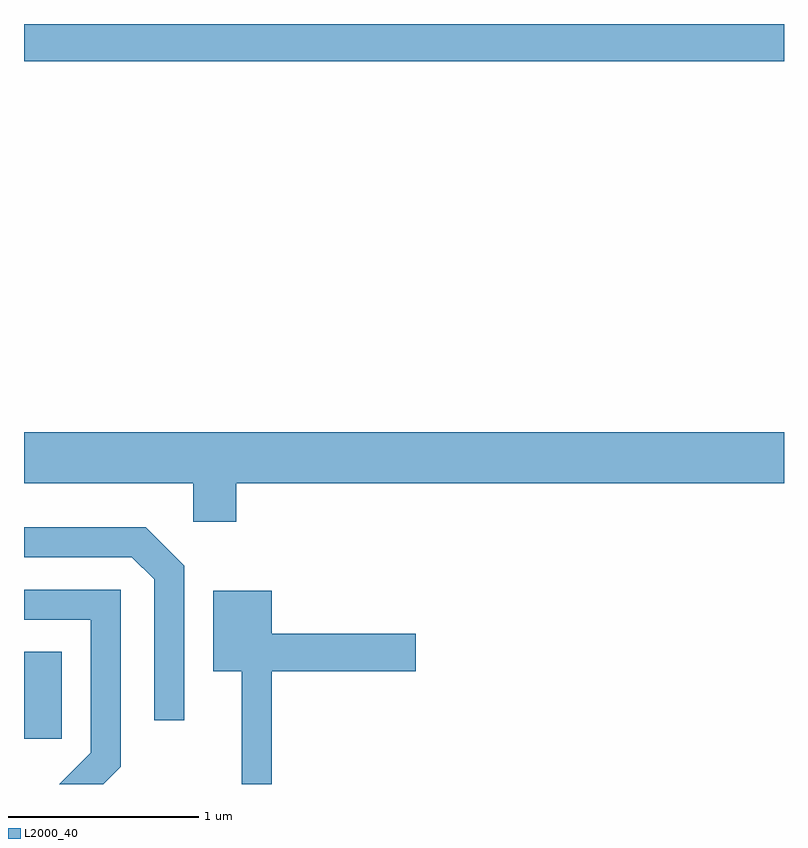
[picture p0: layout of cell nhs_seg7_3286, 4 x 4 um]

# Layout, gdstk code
import gdstk
lib = gdstk.Library(unit=1e-6, precision=1e-09)
def R(c, l, rs):  # rectangles x0, y0, x1, y1
    for r in rs: c.add(gdstk.rectangle(r[:2], r[2:], *l))
def P(c, l, *ps):  # polygons
    for p in ps: c.add(gdstk.Polygon(p, *l))
L2000_40 = (2000, 40)

nhs_seg7_3286 = lib.new_cell('nhs_seg7_3286')
R(nhs_seg7_3286, L2000_40, [(285.611,1748.491,285.809,1748.949), (285.611,1752.056,289.611,1752.252)])
P(nhs_seg7_3286, L2000_40, [(286.729,1749.836),(289.611,1749.836),(289.611,1750.104),(285.611,1750.104),(285.611,1749.836),(286.501,1749.836),(286.501,1749.631),(286.729,1749.631)],
  [(286.454,1749.402),(286.252,1749.604),(285.611,1749.604),(285.611,1749.446),(286.179,1749.446),(286.296,1749.329),(286.296,1748.588),(286.454,1748.588)],
  [(286.119,1748.344),(286.119,1749.274),(285.611,1749.274),(285.611,1749.116),(285.961,1749.116),(285.961,1748.417),(285.797,1748.252),(286.027,1748.252)],
  [(286.914,1748.846),(287.674,1748.846),(287.674,1749.044),(286.914,1749.044),(286.914,1749.269),(286.606,1749.269),(286.606,1748.846),(286.756,1748.846),(286.756,1748.252),(286.914,1748.252)])

lib.write_gds('nhs_seg7_3286.gds')
